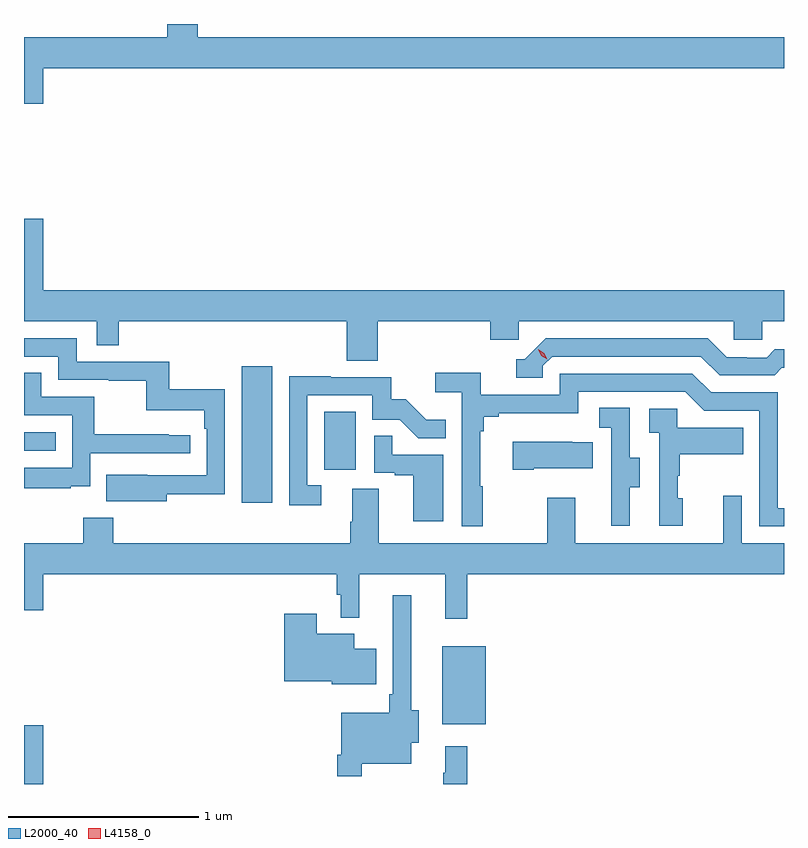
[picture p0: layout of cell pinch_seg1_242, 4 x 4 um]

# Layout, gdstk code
import gdstk
lib = gdstk.Library(unit=1e-6, precision=1e-09)
def R(c, l, rs):  # rectangles x0, y0, x1, y1
    for r in rs: c.add(gdstk.rectangle(r[:2], r[2:], *l))
def P(c, l, *ps):  # polygons
    for p in ps: c.add(gdstk.Polygon(p, *l))
L2000_40 = (2000, 40)
L4158_0 = (4158, 0)

pinch_seg1_242 = lib.new_cell('pinch_seg1_242')
R(pinch_seg1_242, L2000_40, [(908.327,578.601,908.428,578.911), (910.529,578.915,910.756,579.325), (909.473,580.08,909.634,580.801), (909.908,580.254,910.072,580.561), (908.327,580.356,908.495,580.452)])
P(pinch_seg1_242, L2000_40, [(908.428,582.368),(912.327,582.368),(912.327,582.532),(909.242,582.532),(909.242,582.601),(909.082,582.601),(909.082,582.532),(908.327,582.532),(908.327,582.18),(908.428,582.18)],
  [(910.19,581.036),(910.781,581.036),(910.781,580.938),(910.932,580.938),(910.932,581.036),(912.063,581.036),(912.063,580.938),(912.213,580.938),(912.213,581.036),(912.327,581.036),(912.327,581.2),(908.428,581.2),(908.428,581.575),(908.327,581.575),(908.327,581.036),(908.709,581.036),(908.709,580.909),(908.825,580.909),(908.825,581.036),(910.025,581.036),(910.025,580.828),(910.19,580.828)],
  [(911.058,580.803),(911.106,580.851),(911.889,580.851),(911.988,580.752),(912.277,580.752),(912.316,580.791),(912.327,580.791),(912.327,580.888),(912.277,580.888),(912.235,580.845),(912.132,580.845),(912.132,580.848),(912.025,580.848),(911.926,580.947),(911.073,580.947),(910.962,580.836),(910.919,580.836),(910.919,580.74),(911.058,580.74)],
  [(909.079,580.126),(909.384,580.126),(909.384,580.678),(909.091,580.678),(909.091,580.824),(908.604,580.824),(908.604,580.947),(908.327,580.947),(908.327,580.851),(908.508,580.851),(908.508,580.728),(908.773,580.728),(908.773,580.723),(908.97,580.723),(908.97,580.568),(909.275,580.568),(909.275,580.472),(909.288,580.472),(909.288,580.227),(908.975,580.227),(908.975,580.228),(908.761,580.228),(908.761,580.088),(909.079,580.088)],
  [(910.741,580.169),(910.729,580.169),(910.729,580.457),(910.748,580.457),(910.748,580.534),(910.825,580.534),(910.825,580.553),(911.244,580.553),(911.244,580.665),(911.808,580.665),(911.907,580.566),(912.198,580.566),(912.198,579.957),(912.327,579.957),(912.327,580.053),(912.294,580.053),(912.294,580.662),(911.944,580.662),(911.845,580.761),(911.148,580.761),(911.148,580.65),(910.73,580.65),(910.73,580.766),(910.491,580.766),(910.491,580.664),(910.632,580.664),(910.632,579.957),(910.741,579.957)],
  [(908.573,580.169),(908.676,580.169),(908.676,580.341),(909.202,580.341),(909.202,580.437),(909.089,580.437),(909.089,580.442),(908.696,580.442),(908.696,580.638),(908.419,580.638),(908.419,580.766),(908.327,580.766),(908.327,580.542),(908.58,580.542),(908.58,580.266),(908.327,580.266),(908.327,580.158),(908.573,580.158)],
  [(909.892,580.173),(909.819,580.173),(909.819,580.647),(910.161,580.647),(910.161,580.518),(910.305,580.518),(910.403,580.42),(910.547,580.42),(910.547,580.519),(910.443,580.519),(910.336,580.626),(910.26,580.626),(910.26,580.743),(909.941,580.743),(909.941,580.748),(909.723,580.748),(909.723,580.068),(909.892,580.068)],
  [(911.515,580.162),(911.569,580.162),(911.569,580.317),(911.514,580.317),(911.514,580.58),(911.355,580.58),(911.355,580.477),(911.418,580.477),(911.418,580.173),(911.417,580.173),(911.417,579.96),(911.515,579.96)],
  [(911.794,580.104),(911.769,580.104),(911.769,580.223),(911.779,580.223),(911.779,580.337),(912.113,580.337),(912.113,580.477),(911.766,580.477),(911.766,580.575),(911.619,580.575),(911.619,580.451),(911.67,580.451),(911.67,579.96),(911.794,579.96)],
  [(910.534,580.335),(910.265,580.335),(910.265,580.433),(910.17,580.433),(910.17,580.239),(910.277,580.239),(910.277,580.227),(910.376,580.227),(910.376,579.984),(910.534,579.984)],
  [(911.011,580.262),(911.321,580.262),(911.321,580.399),(911.213,580.399),(911.213,580.402),(910.899,580.402),(910.899,580.255),(911.011,580.255)],
  [(910.195,580.154),(910.055,580.154),(910.055,579.98),(910.043,579.98),(910.043,579.868),(908.798,579.868),(908.798,580.003),(908.638,580.003),(908.638,579.868),(908.327,579.868),(908.327,579.516),(908.428,579.516),(908.428,579.704),(909.973,579.704),(909.973,579.597),(909.993,579.597),(909.993,579.476),(910.091,579.476),(910.091,579.704),(910.544,579.704),(910.544,579.471),(910.661,579.471),(910.661,579.704),(912.327,579.704),(912.327,579.868),(912.105,579.868),(912.105,580.117),(912.008,580.117),(912.008,579.868),(911.227,579.868),(911.227,580.108),(911.08,580.108),(911.08,579.868),(910.195,579.868)],
  [(910.105,578.708),(910.366,578.708),(910.366,578.819),(910.405,578.819),(910.405,578.99),(910.366,578.99),(910.366,579.595),(910.269,579.595),(910.269,579.073),(910.249,579.073),(910.249,578.977),(909.996,578.977),(909.996,578.755),(909.976,578.755),(909.976,578.643),(910.105,578.643)],
  [(910.18,579.313),(910.066,579.313),(910.066,579.391),(909.868,579.391),(909.868,579.496),(909.698,579.496),(909.698,579.143),(909.948,579.143),(909.948,579.125),(910.18,579.125)],
  [(910.661,578.8),(910.544,578.8),(910.544,578.66),(910.533,578.66),(910.533,578.601),(910.661,578.601)])
P(pinch_seg1_242, L4158_0, [(911.081,580.836),(911.05,580.855),(911.034,580.888),(911.034,580.888),(911.034,580.888),(911.065,580.869),(911.081,580.836),(911.081,580.836)])

lib.write_gds('pinch_seg1_242.gds')
